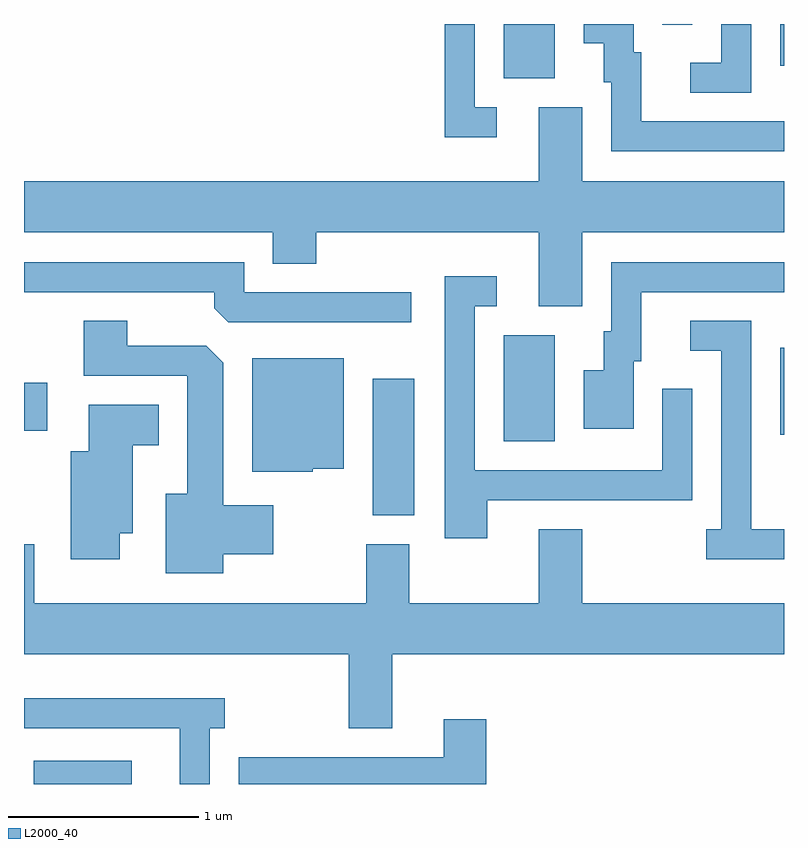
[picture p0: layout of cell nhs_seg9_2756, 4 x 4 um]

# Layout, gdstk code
import gdstk
lib = gdstk.Library(unit=1e-6, precision=1e-09)
def R(c, l, rs):  # rectangles x0, y0, x1, y1
    for r in rs: c.add(gdstk.rectangle(r[:2], r[2:], *l))
def P(c, l, *ps):  # polygons
    for p in ps: c.add(gdstk.Polygon(p, *l))
L2000_40 = (2000, 40)

nhs_seg9_2756 = lib.new_cell('nhs_seg9_2756')
R(nhs_seg9_2756, L2000_40, [(265.661,2024.432,266.178,2024.554), (267.446,2025.846,267.664,2026.564), (268.136,2026.236,268.404,2026.794), (269.591,2026.271,269.611,2026.729), (265.611,2026.291,265.734,2026.544), (268.136,2028.146,268.404,2028.432), (269.591,2028.211,269.611,2028.432), (268.971,2028.428,269.129,2028.432)])
P(nhs_seg9_2756, L2000_40, [(269.611,2027.919),(268.859,2027.919),(268.859,2028.284),(268.819,2028.284),(268.819,2028.432),(268.556,2028.432),(268.556,2028.331),(268.661,2028.331),(268.661,2028.126),(268.701,2028.126),(268.701,2027.761),(269.611,2027.761)],
  [(268.098,2027.994),(267.984,2027.994),(267.984,2028.432),(267.826,2028.432),(267.826,2027.836),(268.098,2027.836)],
  [(269.439,2028.432),(269.281,2028.432),(269.281,2028.229),(269.118,2028.229),(269.118,2028.071),(269.439,2028.071)],
  [(268.549,2027.336),(269.611,2027.336),(269.611,2027.604),(268.549,2027.604),(268.549,2027.994),(268.321,2027.994),(268.321,2027.604),(265.611,2027.604),(265.611,2027.336),(266.921,2027.336),(266.921,2027.171),(267.149,2027.171),(267.149,2027.336),(268.321,2027.336),(268.321,2026.946),(268.549,2026.946)],
  [(268.819,2026.656),(268.859,2026.656),(268.859,2027.021),(269.611,2027.021),(269.611,2027.179),(268.701,2027.179),(268.701,2026.814),(268.661,2026.814),(268.661,2026.609),(268.556,2026.609),(268.556,2026.301),(268.819,2026.301)],
  [(267.648,2027.019),(266.769,2027.019),(266.769,2027.179),(265.611,2027.179),(265.611,2027.021),(266.611,2027.021),(266.611,2026.937),(266.687,2026.861),(267.648,2026.861)],
  [(268.049,2025.926),(269.129,2025.926),(269.129,2026.513),(268.971,2026.513),(268.971,2026.084),(267.984,2026.084),(267.984,2026.946),(268.098,2026.946),(268.098,2027.104),(267.826,2027.104),(267.826,2025.726),(268.049,2025.726)],
  [(269.611,2025.774),(269.439,2025.774),(269.439,2026.869),(269.118,2026.869),(269.118,2026.711),(269.281,2026.711),(269.281,2025.774),(269.203,2025.774),(269.203,2025.616),(269.611,2025.616)],
  [(266.659,2025.641),(266.924,2025.641),(266.924,2025.899),(266.659,2025.899),(266.659,2026.649),(266.569,2026.739),(266.154,2026.739),(266.154,2026.869),(265.926,2026.869),(265.926,2026.581),(266.471,2026.581),(266.471,2025.959),(266.356,2025.959),(266.356,2025.541),(266.659,2025.541)],
  [(267.13,2026.091),(267.294,2026.091),(267.294,2026.674),(266.811,2026.674),(266.811,2026.076),(267.13,2026.076)],
  [(266.114,2025.751),(266.184,2025.751),(266.184,2026.216),(266.319,2026.216),(266.319,2026.429),(265.951,2026.429),(265.951,2026.184),(265.856,2026.184),(265.856,2025.616),(266.114,2025.616)],
  [(267.549,2025.116),(269.611,2025.116),(269.611,2025.384),(268.549,2025.384),(268.549,2025.774),(268.321,2025.774),(268.321,2025.384),(267.639,2025.384),(267.639,2025.694),(267.411,2025.694),(267.411,2025.384),(265.664,2025.384),(265.664,2025.694),(265.611,2025.694),(265.611,2025.116),(267.321,2025.116),(267.321,2024.726),(267.549,2024.726)],
  [(266.589,2024.726),(266.668,2024.726),(266.668,2024.884),(265.611,2024.884),(265.611,2024.726),(266.431,2024.726),(266.431,2024.432),(266.589,2024.432)],
  [(268.044,2024.774),(267.821,2024.774),(267.821,2024.574),(266.741,2024.574),(266.741,2024.432),(268.044,2024.432)])

lib.write_gds('nhs_seg9_2756.gds')
